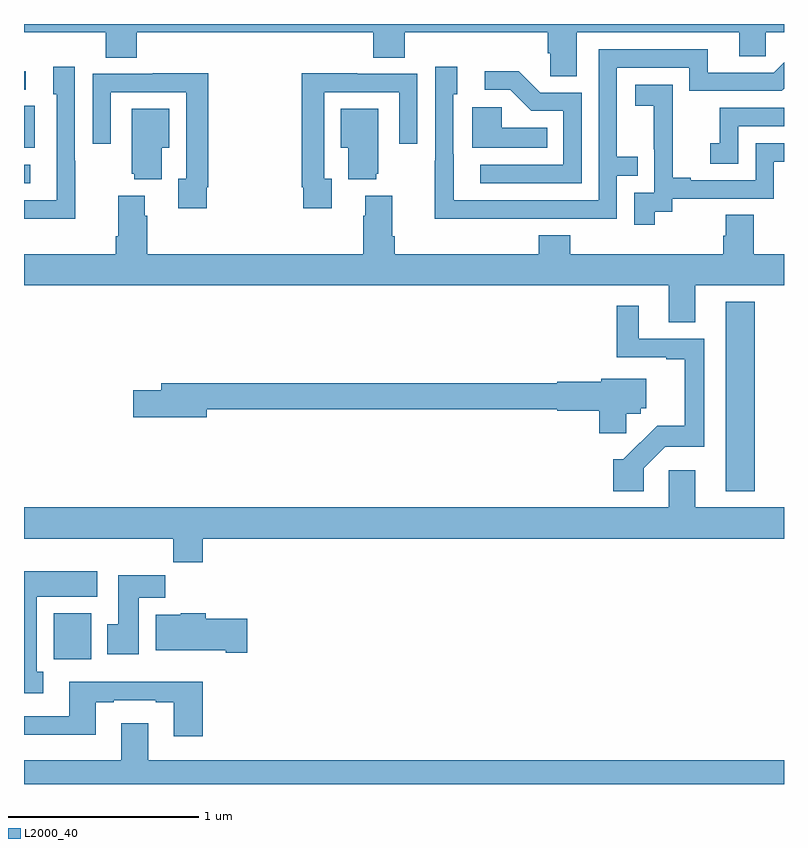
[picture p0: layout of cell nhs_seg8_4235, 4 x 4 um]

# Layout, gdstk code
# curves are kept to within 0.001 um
import gdstk
lib = gdstk.Library(unit=1e-6, precision=1e-09)
def R(c, l, rs):  # rectangles x0, y0, x1, y1
    for r in rs: c.add(gdstk.rectangle(r[:2], r[2:], *l))
def P(c, l, *ps):  # polygons
    for p in ps: c.add(gdstk.Polygon(p, *l))
L2000_40 = (2000, 40)

nhs_seg8_4235 = lib.new_cell('nhs_seg8_4235')
R(nhs_seg8_4235, L2000_40, [(371.156,1090.556,371.353,1090.798), (374.693,1091.441,374.846,1092.439), (371,1093.062,371.032,1093.158), (371,1093.25,371.056,1093.469), (371,1093.554,371.008,1093.652)])
P(nhs_seg8_4235, L2000_40, [(371,1093.856),(371.429,1093.856),(371.429,1093.723),(371.594,1093.723),(371.594,1093.856),(372.839,1093.856),(372.839,1093.723),(373.004,1093.723),(373.004,1093.856),(373.757,1093.856),(373.757,1093.747),(373.77,1093.747),(373.77,1093.624),(373.909,1093.624),(373.909,1093.856),(374.765,1093.856),(374.765,1093.729),(374.904,1093.729),(374.904,1093.856),(375,1093.856),(375,1093.9),(371,1093.9)],
  [(373.625,1092.876),(374.121,1092.876),(374.121,1093.101),(374.231,1093.101),(374.231,1093.202),(374.121,1093.202),(374.121,1093.671),(374.502,1093.671),(374.502,1093.548),(374.988,1093.548),(375,1093.56),(375,1093.698),(374.946,1093.644),(374.599,1093.644),(374.599,1093.767),(374.025,1093.767),(374.025,1092.972),(373.261,1092.972),(373.26,1093.53),(373.279,1093.53),(373.279,1093.675),(373.164,1093.675),(373.164,1093.181),(373.162,1093.181),(373.162,1092.875)],
  [(371.271,1093.181),(371.268,1093.181),(371.268,1093.675),(371.153,1093.675),(371.153,1093.53),(371.172,1093.53),(371.172,1092.972),(371,1092.972),(371,1092.875),(371.271,1092.875)],
  [(373.935,1093.539),(373.716,1093.539),(373.603,1093.652),(373.425,1093.652),(373.425,1093.554),(373.559,1093.554),(373.67,1093.443),(373.839,1093.443),(373.839,1093.158),(373.401,1093.158),(373.401,1093.062),(373.935,1093.062)],
  [(372.619,1093.086),(372.579,1093.086),(372.579,1093.542),(372.975,1093.542),(372.975,1093.269),(373.071,1093.269),(373.071,1093.638),(372.755,1093.638),(372.755,1093.64),(372.463,1093.64),(372.463,1093.042),(372.471,1093.042),(372.471,1092.93),(372.619,1092.93)],
  [(371.962,1093.042),(371.969,1093.042),(371.969,1093.64),(371.677,1093.64),(371.677,1093.638),(371.361,1093.638),(371.361,1093.269),(371.457,1093.269),(371.457,1093.542),(371.853,1093.542),(371.853,1093.086),(371.813,1093.086),(371.813,1092.93),(371.962,1092.93)],
  [(374.32,1092.913),(374.412,1092.913),(374.412,1092.981),(374.946,1092.981),(374.946,1093.176),(375,1093.176),(375,1093.272),(374.85,1093.272),(374.85,1093.077),(374.509,1093.077),(374.509,1093.09),(374.414,1093.09),(374.414,1093.373),(374.415,1093.373),(374.415,1093.579),(374.217,1093.579),(374.217,1093.469),(374.315,1093.469),(374.315,1093.241),(374.316,1093.241),(374.316,1093.011),(374.211,1093.011),(374.211,1092.843),(374.32,1092.843)],
  [(373.754,1093.354),(373.515,1093.354),(373.515,1093.462),(373.358,1093.462),(373.358,1093.25),(373.754,1093.25)],
  [(374.76,1093.362),(375,1093.362),(375,1093.458),(374.662,1093.458),(374.662,1093.273),(374.613,1093.273),(374.613,1093.164),(374.76,1093.164)],
  [(371.725,1093.25),(371.764,1093.25),(371.764,1093.453),(371.567,1093.453),(371.567,1093.113),(371.579,1093.113),(371.579,1093.082),(371.725,1093.082)],
  [(372.854,1093.113),(372.865,1093.113),(372.865,1093.453),(372.668,1093.453),(372.668,1093.25),(372.707,1093.25),(372.707,1093.082),(372.854,1093.082)],
  [(374.393,1092.33),(374.533,1092.33),(374.533,1092.524),(375,1092.524),(375,1092.688),(374.841,1092.688),(374.841,1092.896),(374.693,1092.896),(374.693,1092.786),(374.681,1092.786),(374.681,1092.688),(373.874,1092.688),(373.874,1092.787),(373.709,1092.787),(373.709,1092.688),(372.95,1092.688),(372.95,1092.784),(372.937,1092.784),(372.937,1092.997),(372.797,1092.997),(372.797,1092.89),(372.785,1092.89),(372.785,1092.688),(371.648,1092.688),(371.648,1092.89),(371.635,1092.89),(371.635,1092.997),(371.495,1092.997),(371.495,1092.784),(371.483,1092.784),(371.483,1092.688),(371,1092.688),(371,1092.524),(374.393,1092.524)],
  [(374.262,1091.562),(374.376,1091.676),(374.581,1091.676),(374.581,1092.243),(374.236,1092.243),(374.236,1092.418),(374.119,1092.418),(374.119,1092.147),(374.381,1092.147),(374.381,1092.135),(374.477,1092.135),(374.477,1091.786),(374.333,1091.786),(374.155,1091.608),(374.102,1091.608),(374.102,1091.442),(374.262,1091.442)],
  [(374.171,1091.85),(374.247,1091.85),(374.247,1091.877),(374.275,1091.877),(374.275,1092.034),(374.039,1092.034),(374.039,1092.016),(373.806,1092.016),(373.806,1092.008),(371.723,1092.008),(371.723,1091.972),(371.574,1091.972),(371.574,1091.83),(371.962,1091.83),(371.962,1091.872),(373.806,1091.872),(373.806,1091.864),(374.027,1091.864),(374.027,1091.745),(374.171,1091.745)],
  [(371.942,1091.192),(375,1091.192),(375,1091.356),(374.533,1091.356),(374.533,1091.551),(374.394,1091.551),(374.394,1091.356),(371,1091.356),(371,1091.192),(371.785,1091.192),(371.785,1091.068),(371.942,1091.068)],
  [(371.101,1090.49),(371.068,1090.49),(371.068,1090.886),(371.386,1090.886),(371.386,1091.02),(371,1091.02),(371,1090.377),(371.101,1090.377)],
  [(371.605,1090.88),(371.744,1090.88),(371.744,1090.999),(371.495,1090.999),(371.495,1090.74),(371.438,1090.74),(371.438,1090.584),(371.605,1090.584)],
  [(372.175,1090.77),(371.957,1090.77),(371.957,1090.798),(371.826,1090.798),(371.826,1090.792),(371.693,1090.792),(371.693,1090.604),(372.062,1090.604),(372.062,1090.592),(372.175,1090.592)],
  [(371.942,1090.438),(371.237,1090.438),(371.237,1090.257),(371,1090.257),(371,1090.16),(371.377,1090.16),(371.377,1090.329),(371.473,1090.329),(371.473,1090.341),(371.693,1090.341),(371.693,1090.329),(371.789,1090.329),(371.789,1090.152),(371.942,1090.152)],
  [(375,1090.024),(371.653,1090.024),(371.653,1090.219),(371.513,1090.219),(371.513,1090.024),(371,1090.024),(371,1089.9),(375,1089.9)])

lib.write_gds('nhs_seg8_4235.gds')
